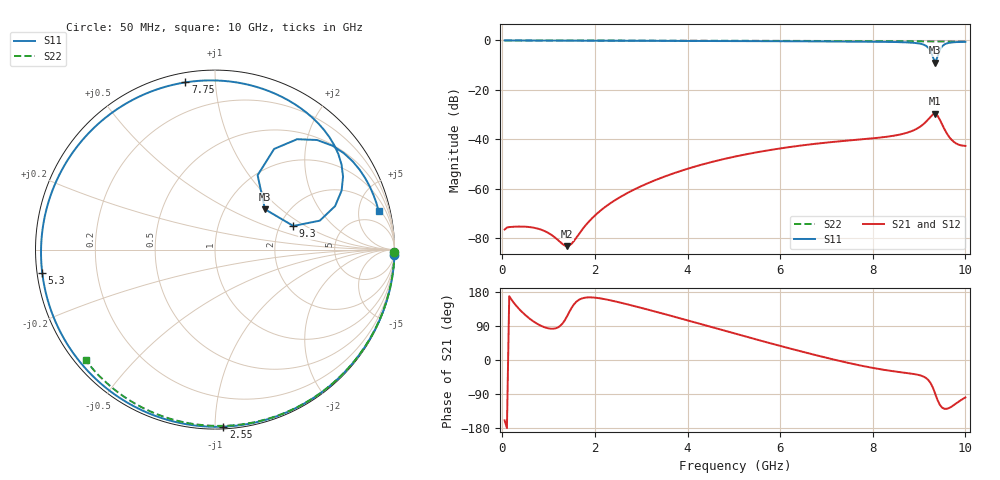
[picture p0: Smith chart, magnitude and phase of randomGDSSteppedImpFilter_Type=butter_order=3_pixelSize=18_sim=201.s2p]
! freq	dB(S11)	phase(S11)	dB(S12)	phase(S12)
!  dB(S21)	phase(S21)	dB(S22)	phase(S22)
!S-par simulation data
#  GHz  S  DB  R 50
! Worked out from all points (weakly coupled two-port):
!   200 points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, 50 MHz to 10 GHz, reference 50 ohm
!   highest |S21| = -29.64 dB at 9.35 GHz (marker M1); lowest = -83.2 dB at 1.4 GHz (marker M2)
!   lowest |S11| = -8.9 dB at 9.35 GHz (marker M3), VSWR 2.11, Z = 76.3 + j39.4 ohm
!   |S11| at or under -10 dB: nowhere
!   |S22| runs from -0.5 to 0.0 dB; largest |S21 - S12| = 0
!   S11 on the Smith chart (normalised r, x): 50 MHz: 0, -64; 2.55 GHz: 0.01, -1.05; 5.3 GHz: 0.01, -0.07; 7.75 GHz: 0.05, +0.84; 9.3 GHz: 2.36, +0.79; 10 GHz: 2.22, +7.90
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0.05  -0.00 -1.8  -76.50 -159.3  -76.50 -159.3  -0.00 -0.8
0.6  -0.02 -21.4  -75.52 108.2  -75.52 108.2  -0.01 -9.7
1.4  -0.06 -49.3  -83.23 115.7  -83.23 115.7  -0.03 -22.4
1.6  -0.07 -56.0  -79.78 153.9  -79.78 153.9  -0.03 -25.6
1.75  -0.08 -61.1  -75.92 163.5  -75.92 163.5  -0.04 -27.9
2.55  -0.11 -87.3  -63.30 151.4  -63.30 151.4  -0.05 -40.3
3.4  -0.14 -114.0  -55.80 124.6  -55.80 124.6  -0.07 -53.1
5.05  -0.24 -164.5  -46.87 68.8  -46.87 68.8  -0.12 -76.7
5.3  -0.25 -172.3  -45.93 60.4  -45.93 60.4  -0.13 -80.2
6  -0.31 165.0  -43.68 37.2  -43.68 37.2  -0.16 -89.6
6.7  -0.37 140.8  -41.94 15.0  -41.94 15.0  -0.19 -98.7
7.75  -0.48 100.1  -40.02 -15.0  -40.02 -15.0  -0.26 -112.0
8.35  -0.59 73.5  -38.84 -28.0  -38.84 -28.0  -0.31 -119.5
8.75  -0.79 53.4  -37.27 -34.6  -37.27 -34.6  -0.34 -124.4
9.05  -1.42 33.9  -34.53 -41.5  -34.53 -41.5  -0.37 -128.0
9.2  -2.96 19.9  -31.86 -52.9  -31.86 -52.9  -0.39 -129.8
9.3  -6.83 16.8  -29.89 -73.3  -29.89 -73.3  -0.40 -131.0
9.35  -8.93 38.9  -29.64 -89.5  -29.64 -89.5  -0.40 -131.6
9.4  -6.42 60.2  -30.47 -106.2  -30.47 -106.2  -0.40 -132.2
9.5  -2.31 53.3  -34.09 -125.9  -34.09 -125.9  -0.41 -133.5
9.75  -0.72 28.8  -41.03 -119.0  -41.03 -119.0  -0.44 -136.5
10  -0.56 13.4  -42.65 -98.9  -42.65 -98.9  -0.47 -139.6
